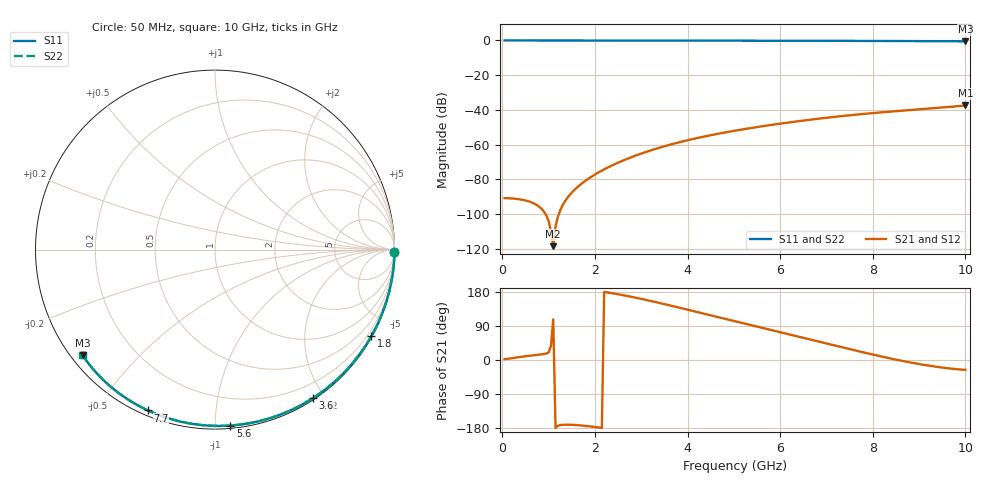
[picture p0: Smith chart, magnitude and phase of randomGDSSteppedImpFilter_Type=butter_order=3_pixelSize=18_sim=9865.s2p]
! freq	dB(S11)	phase(S11)	dB(S12)	phase(S12)
!  dB(S21)	phase(S21)	dB(S22)	phase(S22)
!S-par simulation data
#  GHz  S  DB  R 50
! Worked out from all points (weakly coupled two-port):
!   200 points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, 50 MHz to 10 GHz, reference 50 ohm
!   highest |S21| = -37.47 dB at 10 GHz (marker M1); lowest = -118.6 dB at 1.1 GHz (marker M2)
!   lowest |S11| = -0.5 dB at 10 GHz (marker M3), VSWR 34.76, Z = 1.61 - j17.5 ohm
!   |S11| at or under -10 dB: nowhere
!   |S22| runs from -0.5 to 0.0 dB; largest |S21 - S12| = 0
!   S11 on the Smith chart (normalised r, x): 50 MHz: open; 1.8 GHz: 0.03, -3.87; 3.6 GHz: 0.02, -1.86; 5.6 GHz: 0.02, -1.09; 7.7 GHz: 0.02, -0.67; 10 GHz: 0.03, -0.35
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0.05  -0.00 -0.8  -90.88 2.3  -90.88 2.3  -0.00 -0.8
0.55  -0.01 -9.0  -92.56 10.7  -92.56 10.7  -0.01 -9.0
1.1  -0.02 -17.8  -118.55 107.1  -118.55 107.1  -0.02 -17.8
1.75  -0.04 -28.2  -81.73 -173.2  -81.73 -173.2  -0.04 -28.2
1.8  -0.04 -28.9  -80.75 -173.8  -80.75 -173.8  -0.04 -28.9
1.85  -0.04 -29.7  -79.82 -174.5  -79.82 -174.5  -0.04 -29.7
2.15  -0.04 -34.4  -74.98 -179.3  -74.98 -179.3  -0.04 -34.4
2.35  -0.05 -37.5  -72.27 176.8  -72.27 176.8  -0.05 -37.5
2.55  -0.05 -40.6  -69.85 172.4  -69.85 172.4  -0.05 -40.6
2.95  -0.06 -46.8  -65.67 162.7  -65.67 162.7  -0.06 -46.8
3.4  -0.07 -53.5  -61.75 150.4  -61.75 150.4  -0.07 -53.5
3.6  -0.08 -56.5  -60.22 144.7  -60.22 144.7  -0.08 -56.5
3.9  -0.08 -60.9  -58.14 135.8  -58.14 135.8  -0.08 -60.9
4.3  -0.09 -66.8  -55.70 123.9  -55.70 123.9  -0.09 -66.8
5.05  -0.12 -77.4  -51.87 101.5  -51.87 101.5  -0.12 -77.4
5.6  -0.14 -85.0  -49.51 85.2  -49.51 85.2  -0.14 -85.0
6.15  -0.16 -92.4  -47.40 69.0  -47.40 69.0  -0.16 -92.4
6.7  -0.19 -99.7  -45.50 52.6  -45.50 52.6  -0.19 -99.7
7.7  -0.26 -112.7  -42.60 22.9  -42.60 22.9  -0.26 -112.7
8.35  -0.31 -120.9  -41.07 4.9  -41.07 4.9  -0.31 -120.9
9.2  -0.39 -131.6  -39.29 -14.7  -39.29 -14.7  -0.39 -131.6
10  -0.50 -141.4  -37.47 -26.1  -37.47 -26.1  -0.50 -141.4
